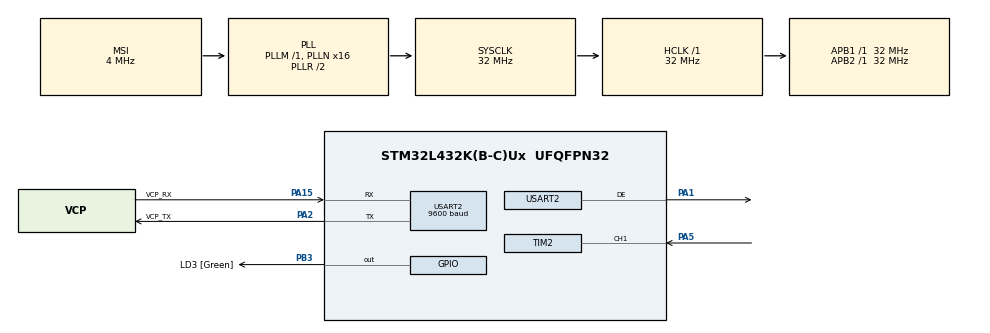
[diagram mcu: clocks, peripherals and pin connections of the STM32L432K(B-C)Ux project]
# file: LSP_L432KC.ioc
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ADC1.Channel-0\#ChannelRegularConversion=ADC_CHANNEL_TEMPSENSOR
ADC1.ContinuousConvMode=ENABLE
ADC1.ExternalTrigConv=ADC_SOFTWARE_START
ADC1.NbrOfConversionFlag=1
ADC1.OffsetNumber-0\#ChannelRegularConversion=ADC_OFFSET_NONE
ADC1.Rank-0\#ChannelRegularConversion=1
ADC1.SamplingTime-0\#ChannelRegularConversion=ADC_SAMPLETIME_2CYCLES_5
ADC1.master=1
Dma.Request0=TIM2_CH1
Dma.TIM2_CH1.0.Direction=DMA_PERIPH_TO_MEMORY
Dma.TIM2_CH1.0.Instance=DMA1_Channel5
Dma.TIM2_CH1.0.MemDataAlignment=DMA_MDATAALIGN_WORD
Dma.TIM2_CH1.0.MemInc=DMA_MINC_ENABLE
Dma.TIM2_CH1.0.Mode=DMA_NORMAL
Dma.TIM2_CH1.0.PeriphDataAlignment=DMA_PDATAALIGN_WORD
Dma.TIM2_CH1.0.PeriphInc=DMA_PINC_DISABLE
Dma.TIM2_CH1.0.Priority=DMA_PRIORITY_HIGH
Mcu.Family=STM32L4
Mcu.Name=STM32L432K(B-C)Ux
Mcu.Package=UFQFPN32
NVIC.DMA1_Channel5_IRQn=true\:0\:0\:true\:false\:true\:false\:true\:true
NVIC.PriorityGroup=NVIC_PRIORITYGROUP_4
NVIC.RTC_Alarm_IRQn=true\:0\:0\:false\:false\:true\:true\:true\:true
NVIC.RTC_WKUP_IRQn=true\:0\:0\:false\:false\:true\:true\:true\:true
NVIC.TIM2_IRQn=true\:0\:0\:false\:false\:true\:true\:true\:true
NVIC.USART2_IRQn=true\:0\:0\:false\:false\:true\:true\:true\:true
PA0.GPIO_Label=MCO [High speed clock in]
PA0.Mode=HSE-External-Clock-Source-for-LittleOrca
PA0.Signal=RCC_CK_IN
PA1.Mode=Hardware Flow Control (RS485)
PA1.Signal=USART2_DE
PA13\ (JTMS-SWDIO).GPIO_Label=SWDIO
PA13\ (JTMS-SWDIO).Mode=Serial_Wire
PA13\ (JTMS-SWDIO).Signal=SYS_JTMS-SWDIO
PA14\ (JTCK-SWCLK).GPIO_Label=SWCLK
PA14\ (JTCK-SWCLK).Mode=Serial_Wire
PA14\ (JTCK-SWCLK).Signal=SYS_JTCK-SWCLK
PA15\ (JTDI).GPIO_Label=VCP_RX
PA15\ (JTDI).Mode=Asynchronous
PA15\ (JTDI).Signal=USART2_RX
PA2.GPIO_Label=VCP_TX
PA2.Mode=Asynchronous
PA2.Signal=USART2_TX
PA5.Signal=S_TIM2_CH1
PB3\ (JTDO-TRACESWO).GPIO_Label=LD3 [Green]
PB3\ (JTDO-TRACESWO).Signal=GPIO_Output
PC14-OSC32_IN\ (PC14).Mode=LSE-External-Oscillator
PC14-OSC32_IN\ (PC14).Signal=RCC_OSC32_IN
PC15-OSC32_OUT\ (PC15).Mode=LSE-External-Oscillator
PC15-OSC32_OUT\ (PC15).Signal=RCC_OSC32_OUT
ProjectManager.HeapSize=0x200
ProjectManager.StackSize=0x400
ProjectManager.TargetToolchain=STM32CubeIDE
RCC.ADCFreq_Value=32000000
RCC.AHBFreq_Value=32000000
RCC.APB1Freq_Value=32000000
RCC.APB1TimFreq_Value=32000000
RCC.APB2Freq_Value=32000000
RCC.APB2TimFreq_Value=32000000
RCC.CortexFreq_Value=32000000
RCC.HCLKFreq_Value=32000000
RCC.HSE_VALUE=8000000
RCC.HSI16_VALUE=16000000
RCC.HSI48_VALUE=48000000
RCC.HSI_VALUE=16000000
RCC.MSI_VALUE=4000000
RCC.PLLMUL=RCC_PLLMUL_4
RCC.PLLN=16
RCC.PLLSAI1N=16
RCC.SYSCLKFreq_VALUE=32000000
RCC.SYSCLKSource=RCC_SYSCLKSOURCE_PLLCLK
RCC.USBFreq_Value=32000000
RCC.VCOOutputFreq_Value=64000000
RTC.Alarm=RTC_ALARM_A
SH.S_TIM2_CH1.0=TIM2_CH1,Input_Capture1_from_TI1
TIM2.Channel-Input_Capture1_from_TI1=TIM_CHANNEL_1
TIM2.Prescaler=0
USART2.BaudRate=9600
USART2.VirtualMode-Asynchronous=VM_ASYNC
USART2.VirtualMode-Hardware\ Flow\ Control\ (RS485)=VM_ASYNC
VP_ADC1_TempSens_Input.Mode=IN-TempSens
VP_ADC1_Vref_Input.Mode=IN-Vrefint
VP_RTC_VS_RTC_Activate.Mode=RTC_Enabled
VP_RTC_VS_RTC_Alarm_A_Intern.Mode=Alarm A
VP_RTC_VS_RTC_Calendar.Mode=RTC_Calendar
VP_RTC_VS_RTC_WakeUp_intern.Mode=WakeUp
VP_TIM2_VS_ClockSourceINT.Mode=Internal
board=NUCLEO-L432KC

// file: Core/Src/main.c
/* USER CODE BEGIN Header */
/**
  ******************************************************************************
  * @file           : main.c
  * @brief          : Main program body
  ******************************************************************************
  * @attention
  *
  * Copyright (c) 2023 STMicroelectronics.
  * All rights reserved.
  *
  * This software is licensed under terms that can be found in the LICENSE file
  * in the root directory of this software component.
  * If no LICENSE file comes with this software, it is provided AS-IS.
  *
  ******************************************************************************
  */
/* USER CODE END Header */
#include "main.h"

/* USER CODE BEGIN Includes */
#include "retarget.h"
#include <string.h>
#include <stdio.h>
#include <stm32l4xx_ll_usart.h>
#include "queue.h"
#include "command.h"
#include <stdlib.h>
#include "temperature.h"
#include "battery.h"
#include "tsl237.h"
#include "flash.h"
#include "rtc.h"
/* USER CODE END Includes */

/* USER CODE BEGIN PD */
#define TIMCLOCK   32000000
#define PRESCALAR  1
/* USER CODE END PD */

ADC_HandleTypeDef hadc1;
RTC_HandleTypeDef hrtc;
TIM_HandleTypeDef htim2;
DMA_HandleTypeDef hdma_tim2_ch1;
UART_HandleTypeDef huart2;

/* USER CODE BEGIN PV */
UART_HandleTypeDef huart2;
queue_t qbuff;
uint8_t maxcommbuffsize = 50;
uint8_t combuff[50];
uint8_t ld3_state = 0;
typedef struct command {
  char * cmd_string;
  void (*cmd_function)(char * arg);
} command_t;
RTC_TimeTypeDef sysTime = {0};
RTC_DateTypeDef sysDate = {0};
RTC_AlarmTypeDef sAlarm = {0};
uint8_t toggleflag =0;

uint32_t IC_Val1 = 0;
uint32_t IC_Val2 = 0;
uint32_t Difference = 0;
int Is_First_Captured = 0;
flash_status_t fs;

/* USER CODE END PV */

void SystemClock_Config(void);
static void MX_GPIO_Init(void);
static void MX_DMA_Init(void);
static void MX_USART2_UART_Init(void);
static void MX_RTC_Init(void);
static void MX_ADC1_Init(void);
static void MX_TIM2_Init(void);
/* USER CODE BEGIN PFP */
int execute_command(uint8_t * line);
int parse_command (uint8_t *line, uint8_t **command, uint8_t **args);

void help_command(char *arguments);
void lof_command(char *arguments);
void lon_command(char *arguments);
void test_command(char *arguments);
void ds_command(char *arguments);
void ts_command(char *arguments);
void temp_command(char *arguments);
void battery_command(char *arguments);
void lightsensor_command(char *arguments);
void sample_command(char * arguments);
void ef_command(char *args);
void fetchcommand(uint8_t* combuff);
void toggleLED();
void gettime();
/* USER CODE END PFP */

/* USER CODE BEGIN 0 */

command_t commands[] = {
  {"help",help_command},
  {"lof",lof_command},
  {"lon",lon_command},
  {"test",test_command},
  {"ds",ds_command},
  {"ts",ts_command},
  {"temp",temp_command},
  {"battery",battery_command},
  {"tsl237",lightsensor_command},
  {"sample",sample_command},
  {"log",log_command},
  {"data",data_command},
  {"ef",ef_command},
  {0,0}
};
/* USER CODE END 0 */

int main(void)
{

  /* MCU Configuration--------------------------------------------------------*/

  /* Reset of all peripherals, Initializes the Flash interface and the Systick. */
  HAL_Init();

  /* Configure the system clock */
  SystemClock_Config();

  /* Initialize all configured peripherals */
  MX_GPIO_Init();
  MX_DMA_Init();
  MX_USART2_UART_Init();
  MX_RTC_Init();
  MX_ADC1_Init();
  MX_TIM2_Init();
  /* USER CODE BEGIN 2 */
  RetargetInit(&huart2);
  init_queue(&qbuff);

  HAL_ADC_DeInit(&hadc1);
  HAL_TIM_Base_DeInit(&htim2);
  HAL_TIM_IC_DeInit(&htim2);
  flash_write_init(&fs);
  flash_write_init(&fs);
  write_log_data(&fs,"Note: Cold Reset");
  /* USER CODE END 2 */

  /* Infinite loop */
  /* USER CODE BEGIN WHILE */

  while (1)
  {
	  uint8_t status = fetchcomm(combuff);
	  if(status==1){
		  printf("\r\n");
		  if(execute_command(combuff)!=0){
			  printf("NOK\r\n");
			  gettime();
			  commandprompt(&sysTime,&sysDate);
		  }else{
//			  printf("OK\r\n");
			  gettime();
			  commandprompt(&sysTime,&sysDate);
		  }
	  }else if(status==2){
		  printf("NOK\r\n");
		  gettime();
		  commandprompt(&sysTime,&sysDate);
	  }

	  if (toggleflag  == 1){
		  toggleflag=0;
		  toggleLED();
	  }

    /* USER CODE END WHILE */

  }
}

void SystemClock_Config(void)
{
  RCC_OscInitTypeDef RCC_OscInitStruct = {0};
  RCC_ClkInitTypeDef RCC_ClkInitStruct = {0};

  /** Configure the main internal regulator output voltage
  */
  if (HAL_PWREx_ControlVoltageScaling(PWR_REGULATOR_VOLTAGE_SCALE1) != HAL_OK)
  {
    Error_Handler();
  }

  /** Configure LSE Drive Capability
  */
  HAL_PWR_EnableBkUpAccess();
  __HAL_RCC_LSEDRIVE_CONFIG(RCC_LSEDRIVE_LOW);

  /** Initializes the RCC Oscillators according to the specified parameters
  * in the RCC_OscInitTypeDef structure.
  */
  RCC_OscInitStruct.OscillatorType = RCC_OSCILLATORTYPE_LSI|RCC_OSCILLATORTYPE_LSE
                              |RCC_OSCILLATORTYPE_MSI;
  RCC_OscInitStruct.LSEState = RCC_LSE_ON;
  RCC_OscInitStruct.LSIState = RCC_LSI_ON;
  RCC_OscInitStruct.MSIState = RCC_MSI_ON;
  RCC_OscInitStruct.MSICalibrationValue = 0;
  RCC_OscInitStruct.MSIClockRange = RCC_MSIRANGE_6;
  RCC_OscInitStruct.PLL.PLLState = RCC_PLL_ON;
  RCC_OscInitStruct.PLL.PLLSource = RCC_PLLSOURCE_MSI;
  RCC_OscInitStruct.PLL.PLLM = 1;
  RCC_OscInitStruct.PLL.PLLN = 16;
  RCC_OscInitStruct.PLL.PLLP = RCC_PLLP_DIV7;
  RCC_OscInitStruct.PLL.PLLQ = RCC_PLLQ_DIV2;
  RCC_OscInitStruct.PLL.PLLR = RCC_PLLR_DIV2;
  if (HAL_RCC_OscConfig(&RCC_OscInitStruct) != HAL_OK)
  {
    Error_Handler();
  }

  /** Initializes the CPU, AHB and APB buses clocks
  */
  RCC_ClkInitStruct.ClockType = RCC_CLOCKTYPE_HCLK|RCC_CLOCKTYPE_SYSCLK
                              |RCC_CLOCKTYPE_PCLK1|RCC_CLOCKTYPE_PCLK2;
  RCC_ClkInitStruct.SYSCLKSource = RCC_SYSCLKSOURCE_PLLCLK;
  RCC_ClkInitStruct.AHBCLKDivider = RCC_SYSCLK_DIV1;
  RCC_ClkInitStruct.APB1CLKDivider = RCC_HCLK_DIV1;
  RCC_ClkInitStruct.APB2CLKDivider = RCC_HCLK_DIV1;

  if (HAL_RCC_ClockConfig(&RCC_ClkInitStruct, FLASH_LATENCY_1) != HAL_OK)
  {
    Error_Handler();
  }

  /** Enable MSI Auto calibration
  */
  HAL_RCCEx_EnableMSIPLLMode();
}

static void MX_ADC1_Init(void)
{

  ADC_ChannelConfTypeDef sConfig = {0};

  /** Common config
  */
  hadc1.Instance = ADC1;
  hadc1.Init.ClockPrescaler = ADC_CLOCK_ASYNC_DIV1;
  hadc1.Init.Resolution = ADC_RESOLUTION_12B;
  hadc1.Init.DataAlign = ADC_DATAALIGN_RIGHT;
  hadc1.Init.ScanConvMode = ADC_SCAN_DISABLE;
  hadc1.Init.EOCSelection = ADC_EOC_SINGLE_CONV;
  hadc1.Init.LowPowerAutoWait = DISABLE;
  hadc1.Init.ContinuousConvMode = ENABLE;
  hadc1.Init.NbrOfConversion = 1;
  hadc1.Init.DiscontinuousConvMode = DISABLE;
  hadc1.Init.ExternalTrigConv = ADC_SOFTWARE_START;
  hadc1.Init.ExternalTrigConvEdge = ADC_EXTERNALTRIGCONVEDGE_NONE;
  hadc1.Init.DMAContinuousRequests = DISABLE;
  hadc1.Init.Overrun = ADC_OVR_DATA_PRESERVED;
  hadc1.Init.OversamplingMode = DISABLE;
  if (HAL_ADC_Init(&hadc1) != HAL_OK)
  {
    Error_Handler();
  }

  /** Configure Regular Channel
  */
  sConfig.Channel = ADC_CHANNEL_TEMPSENSOR;
  sConfig.Rank = ADC_REGULAR_RANK_1;
  sConfig.SamplingTime = ADC_SAMPLETIME_2CYCLES_5;
  sConfig.SingleDiff = ADC_SINGLE_ENDED;
  sConfig.OffsetNumber = ADC_OFFSET_NONE;
  sConfig.Offset = 0;
  if (HAL_ADC_ConfigChannel(&hadc1, &sConfig) != HAL_OK)
  {
    Error_Handler();
  }

}

static void MX_RTC_Init(void)
{

  RTC_TimeTypeDef sTime = {0};
  RTC_DateTypeDef sDate = {0};
//  RTC_AlarmTypeDef sAlarm = {0};

  /** Initialize RTC Only
  */
  hrtc.Instance = RTC;
  hrtc.Init.HourFormat = RTC_HOURFORMAT_24;
  hrtc.Init.AsynchPrediv = 127;
  hrtc.Init.SynchPrediv = 255;
  hrtc.Init.OutPut = RTC_OUTPUT_DISABLE;
  hrtc.Init.OutPutRemap = RTC_OUTPUT_REMAP_NONE;
  hrtc.Init.OutPutPolarity = RTC_OUTPUT_POLARITY_HIGH;
  hrtc.Init.OutPutType = RTC_OUTPUT_TYPE_OPENDRAIN;
  if (HAL_RTC_Init(&hrtc) != HAL_OK)
  {
    Error_Handler();
  }

  /** Initialize RTC and set the Time and Date
  */
  sTime.Hours = 0x0;
  sTime.Minutes = 0x0;
  sTime.Seconds = 0x0;
  sTime.DayLightSaving = RTC_DAYLIGHTSAVING_NONE;
  sTime.StoreOperation = RTC_STOREOPERATION_RESET;
  if (HAL_RTC_SetTime(&hrtc, &sTime, RTC_FORMAT_BCD) != HAL_OK)
  {
    Error_Handler();
  }
  sDate.WeekDay = RTC_WEEKDAY_MONDAY;
  sDate.Month = RTC_MONTH_JANUARY;
  sDate.Date = 0x1;
  sDate.Year = 0x0;

  if (HAL_RTC_SetDate(&hrtc, &sDate, RTC_FORMAT_BCD) != HAL_OK)
  {
    Error_Handler();
  }

  /** Enable the Alarm A
  */
  	sAlarm.AlarmTime.Hours = 0;
	sAlarm.AlarmTime.Minutes = 0;
	sAlarm.AlarmTime.Seconds = 30;
	sAlarm.AlarmTime.SubSeconds = 0;
	sAlarm.AlarmTime.DayLightSaving = RTC_DAYLIGHTSAVING_NONE;
	sAlarm.AlarmTime.StoreOperation = RTC_STOREOPERATION_RESET;
	sAlarm.AlarmMask = RTC_ALARMMASK_DATEWEEKDAY|RTC_ALARMMASK_HOURS
								|RTC_ALARMMASK_MINUTES;
	sAlarm.AlarmSubSecondMask = RTC_ALARMSUBSECONDMASK_ALL;
	sAlarm.AlarmDateWeekDaySel = RTC_ALARMDATEWEEKDAYSEL_DATE;
	sAlarm.AlarmDateWeekDay = 1;
	sAlarm.Alarm = RTC_ALARM_A;
  if (HAL_RTC_SetAlarm_IT(&hrtc, &sAlarm, RTC_FORMAT_BCD) != HAL_OK)
  {
    Error_Handler();
  }

}

static void MX_TIM2_Init(void)
{

  TIM_ClockConfigTypeDef sClockSourceConfig = {0};
  TIM_MasterConfigTypeDef sMasterConfig = {0};
  TIM_IC_InitTypeDef sConfigIC = {0};

  htim2.Instance = TIM2;
  htim2.Init.Prescaler = 0;
  htim2.Init.CounterMode = TIM_COUNTERMODE_UP;
  htim2.Init.Period = 4294967295;
  htim2.Init.ClockDivision = TIM_CLOCKDIVISION_DIV1;
  htim2.Init.AutoReloadPreload = TIM_AUTORELOAD_PRELOAD_DISABLE;
  if (HAL_TIM_Base_Init(&htim2) != HAL_OK)
  {
    Error_Handler();
  }
  sClockSourceConfig.ClockSource = TIM_CLOCKSOURCE_INTERNAL;
  if (HAL_TIM_ConfigClockSource(&htim2, &sClockSourceConfig) != HAL_OK)
  {
    Error_Handler();
  }
  if (HAL_TIM_IC_Init(&htim2) != HAL_OK)
  {
    Error_Handler();
  }
  sMasterConfig.MasterOutputTrigger = TIM_TRGO_RESET;
  sMasterConfig.MasterSlaveMode = TIM_MASTERSLAVEMODE_DISABLE;
  if (HAL_TIMEx_MasterConfigSynchronization(&htim2, &sMasterConfig) != HAL_OK)
  {
    Error_Handler();
  }
  sConfigIC.ICPolarity = TIM_INPUTCHANNELPOLARITY_RISING;
  sConfigIC.ICSelection = TIM_ICSELECTION_DIRECTTI;
  sConfigIC.ICPrescaler = TIM_ICPSC_DIV1;
  sConfigIC.ICFilter = 0;
  if (HAL_TIM_IC_ConfigChannel(&htim2, &sConfigIC, TIM_CHANNEL_1) != HAL_OK)
  {
    Error_Handler();
  }

}

static void MX_USART2_UART_Init(void)
{

  huart2.Instance = USART2;
  huart2.Init.BaudRate = 9600;
  huart2.Init.WordLength = UART_WORDLENGTH_8B;
  huart2.Init.StopBits = UART_STOPBITS_1;
  huart2.Init.Parity = UART_PARITY_NONE;
  huart2.Init.Mode = UART_MODE_TX_RX;
  huart2.Init.HwFlowCtl = UART_HWCONTROL_NONE;
  huart2.Init.OverSampling = UART_OVERSAMPLING_16;
  huart2.Init.OneBitSampling = UART_ONE_BIT_SAMPLE_DISABLE;
  huart2.AdvancedInit.AdvFeatureInit = UART_ADVFEATURE_NO_INIT;
  if (HAL_RS485Ex_Init(&huart2, UART_DE_POLARITY_HIGH, 0, 0) != HAL_OK)
  {
    Error_Handler();
  }
  /* USER CODE BEGIN USART2_Init 2 */
  LL_USART_EnableIT_RXNE(USART2);
  /* USER CODE END USART2_Init 2 */

}

static void MX_DMA_Init(void)
{

  /* DMA controller clock enable */
  __HAL_RCC_DMA1_CLK_ENABLE();

  /* DMA interrupt init */
  /* DMA1_Channel5_IRQn interrupt configuration */
  HAL_NVIC_SetPriority(DMA1_Channel5_IRQn, 0, 0);
  HAL_NVIC_EnableIRQ(DMA1_Channel5_IRQn);

}

static void MX_GPIO_Init(void)
{
  GPIO_InitTypeDef GPIO_InitStruct = {0};

  /* GPIO Ports Clock Enable */
  __HAL_RCC_GPIOC_CLK_ENABLE();
  __HAL_RCC_GPIOA_CLK_ENABLE();
  __HAL_RCC_GPIOB_CLK_ENABLE();

  /*Configure GPIO pin Output Level */
  HAL_GPIO_WritePin(LD3_GPIO_Port, LD3_Pin, GPIO_PIN_RESET);

  /*Configure GPIO pin : LD3_Pin */
  GPIO_InitStruct.Pin = LD3_Pin;
  GPIO_InitStruct.Mode = GPIO_MODE_OUTPUT_PP;
  GPIO_InitStruct.Pull = GPIO_NOPULL;
  GPIO_InitStruct.Speed = GPIO_SPEED_FREQ_LOW;
  HAL_GPIO_Init(LD3_GPIO_Port, &GPIO_InitStruct);

}

/* USER CODE BEGIN 4 */
	int execute_command(uint8_t * line) {
	  uint8_t *cmd;
	  uint8_t *arg;
	  command_t *p = commands;
	  int success = 0;

	  char comarr[10];
	  char argarr[20];

	  cmd = (uint8_t *)comarr;
	  arg = (uint8_t *)argarr;

	  if (!line) {
		return (-1); // Passed a bad pointer
	  }
	  if (parse_command(line,&cmd,&arg) == -1) {
		printf("Error with parse command");
		return (-1);
	  }
	  while (p->cmd_string) {
		if (!strcmp(p->cmd_string,(char *) cmd)) {
		  if (!p->cmd_function) {
			return (-1);
		  }
		  (*p->cmd_function)((char *)arg);            // Run the command with the passed arguments
		  success = 1;
		  break;
		}
		p++;
	  }
	  if (success) {
		return (0);
	  }
	  else {
		return (-1);
	  }
	}

	int parse_command (uint8_t *line, uint8_t **command, uint8_t **args){

        uint8_t i=0,ln=(uint8_t)strlen((char*)line);

        while(i<ln){
            if(line[i]==','){
                break;
            }
            i++;
        }

        char cmd[i+1];
        cmd[i]='\0';
        strncpy(cmd,(char*)line,i);
        strcpy((char*)*command,cmd);

        if(ln==i){
        	char argts[1];
        	argts[0]='\0';
        	strcpy((char*)*args,argts);
        }else{
        	char argts[ln-i];
        	argts[ln-i-1]='\0';
        	strncpy(argts,(char*)&line[i+1],ln-i);
        	strcpy((char*)*args,argts);
        }

    	return 1;

	}

	void test_command(char *arguments) {
		uint8_t i=0,pt=0,ln=(uint8_t)strlen((char*)arguments);
		char arg[50];
		while(i<ln){
			if(arguments[i]==','){
				if(i==ln-1){
					return;
				}
			 arg[pt]='\0';
			 printf("%s\r\n",arg);
			 pt=0;
			 i++;
			 continue;
		  }
		   arg[pt]=arguments[i];
		   pt++;
		   i++;
		}
	     printf("%s\r\n",arg);
	     printf("OK\r\n");
	  }

	void help_command(char* arguments) {
		  command_t* p = commands;
		  printf("Available Commands: \r\n");
	//	  HAL_UART_Transmit(&huart2, (uint8_t*)avail, strlen(avail), HAL_MAX_DELAY);
		  while (p->cmd_string) {
		    printf("%s\r\n",p->cmd_string);
		    p++;
		  }
		  printf("OK\r\n");
		}

	void lof_command(char* arguments)
	{
	  if (ld3_state == 1)
	  {
	    HAL_GPIO_TogglePin(LD3_GPIO_Port, LD3_Pin);
	    ld3_state = 0;

	  }
	  printf("OK\r\n");
//	  HAL_UART_Transmit(&huart2, (uint8_t*)END_LINE, strlen(END_LINE), HAL_MAX_DELAY);
	}

	void lon_command(char* arguments)
	{
	  if (ld3_state == 0)
	  {
	    HAL_GPIO_TogglePin(LD3_GPIO_Port, LD3_Pin);
	    ld3_state = 1;
	  }
	  printf("OK\r\n");
//	  HAL_UART_Transmit(&huart2, (uint8_t*)END_LINE, strlen(END_LINE), HAL_MAX_DELAY);
	}

	void gettime(){
		if(HAL_RTC_GetTime(&hrtc, &sysTime,RTC_FORMAT_BIN)==HAL_OK && HAL_RTC_GetDate(&hrtc,&sysDate,RTC_FORMAT_BIN==HAL_OK)){
			return;
		}
	}

	void ds_command(char *arguments){
		uint8_t i=0,pt=2,ln=(uint8_t)strlen((char*)arguments);
		char buff[15];
		buff[0]='0';
		buff[1]='x';
		uint8_t ctr=1, params[3]={-1,-1,-1};
		while(i<ln){
			if(arguments[i]==','){
				if(i==ln-1){
					printf("NOK\r\n");
					return;
				}
				buff[pt]='\0';
				if(ctr==1){
					params[ctr-1]=(uint8_t)strtol(buff,NULL,0);
				}else{
					params[ctr-1]=(uint8_t)atoi(buff);
				}

//				printf("%s %d\r\n",buff,params[ctr-1]);
//				buff[0]='0';
//				buff[1]='x';
				pt=0;
				i++;
				ctr++;
				continue;
			}

			buff[pt]=arguments[i];
		    pt++;
		    i++;
		}

		if(ctr<3){
			printf("NOK\r\n");
			return;
		}

		buff[pt]='\0';
		params[ctr-1]=(uint8_t)atoi(buff);
//		printf("%s %d\r\n",buff,params[ctr-1]);
		if((params[0]>0x12 || params[0]<0x1) || (params[1]>31 || params[1]<1) || (params[2]>99 || params[2]<0)){
			printf("NOK\r\n");
			return;
		}

		sysDate.Month=params[0];
		sysDate.Year=params[2];
//		sysDate.Year=0x23;
		sysDate.Date=params[1];

	   if (HAL_RTC_SetDate(&hrtc, &sysDate, RTC_FORMAT_BCD) != HAL_OK)
	   {
		   printf("NOK\r\n");
		   return;
	   }

	   printf("OK\r\n");
	}

	void ts_command(char *arguments){
		uint8_t i=0,pt=0,ln=(uint8_t)strlen((char*)arguments);
		char buff[15];
//		buff[0]='0';
//		buff[1]='x';
		uint8_t ctr=1, params[3]={-1,-1,-1};
		while(i<ln){
			if(arguments[i]==','){
				if(i==ln-1){
					printf("NOK\r\n");
					return;
				}
				buff[pt]='\0';
				params[ctr-1]=(uint8_t)atoi(buff);
//				printf("%s %d\r\n",buff,params[ctr-1]);
//				buff[0]='0';
//				buff[1]='x';
				pt=0;
				i++;
				ctr++;
				continue;
			}

			buff[pt]=arguments[i];
		    pt++;
		    i++;
		}

		if(ctr<3){
			printf("NOK\r\n");
			return;
		}

		buff[pt]='\0';

		params[ctr-1]=(uint8_t)atoi(buff);
//		printf("%s %d\r\n",buff,params[ctr-1]);
		if((params[0]>23 || params[0]<0) || (params[1]>59 || params[1]<0) || (params[2]>59 || params[2]<0)){
			printf("NOK\r\n");
			return;
		}

		sysTime.Hours=params[0];
		sysTime.Seconds=params[2];
		sysTime.Minutes=params[1];
//		sysDate.Year=0x23;

	   if (HAL_RTC_SetTime(&hrtc, &sysTime, RTC_FORMAT_BIN) != HAL_OK)
	   {
		   printf("NOK\r\n");
		   return;
	   }

	   printf("OK\r\n");
	}

	void temp_command(char *arguments) {
		if(arguments && strcmp(arguments,"")!=0){
			printf("NOK\n\r");
			return;
		}
	    HAL_ADC_Init(&hadc1);
	    while (HAL_ADCEx_Calibration_Start(&hadc1,ADC_SINGLE_ENDED) != HAL_OK);
	    printf("%d C\n\r",(int)read_temp());
	    HAL_ADC_DeInit(&hadc1);
	    printf("OK\n\r");

	}

	void battery_command(char *arguments) {
		if(arguments && strcmp(arguments,"")!=0){
			printf("NOK\n\r");
			return;
		}
	    HAL_ADC_Init(&hadc1);
	    while (HAL_ADCEx_Calibration_Start(&hadc1,ADC_SINGLE_ENDED) != HAL_OK);
	    printf("%.2f V\n\r",((float) read_vrefint())/1000);
	    HAL_ADC_DeInit(&hadc1);
	    printf("OK\n\r");

	}
	void lightsensor_command(char *arguments){
		if(arguments && strcmp(arguments,"")!=0){
			printf("NOK\n\r");
			return;
		}
		HAL_TIM_Base_Init(&htim2);
		HAL_TIM_IC_Init(&htim2);
		HAL_Delay(3);
		uint32_t raw;
		float frequency = 0,refClock = TIMCLOCK/(PRESCALAR);

		raw = tsl237_readsensor();

		HAL_TIM_Base_DeInit(&htim2);
		HAL_TIM_IC_DeInit(&htim2);

		frequency = refClock/raw;
		printf("%.2f Hz\n\r",frequency);
		printf("OK\n\r");
		return;
	}

void sample_command(char * arguments) {
  // if (arguments) {
  //   printf("NOK\n\r");
  //   return;
  // }

  HAL_ADC_Init(&hadc1);
  while (HAL_ADCEx_Calibration_Start(&hadc1,ADC_SINGLE_ENDED) != HAL_OK);
  uint16_t temp = (uint16_t)read_temp();
  uint16_t v = (uint16_t)read_vrefint();
  HAL_ADC_DeInit(&hadc1);

  HAL_TIM_Base_Init(&htim2);
  HAL_TIM_IC_Init(&htim2);
  HAL_Delay(3);
  uint32_t raw;
  float frequency = 0,refClock = TIMCLOCK/(PRESCALAR);
  raw = tsl237_readsensor();
  HAL_TIM_Base_DeInit(&htim2);
  HAL_TIM_IC_DeInit(&htim2);
  frequency = refClock/raw;
  int freq_int = (int)frequency;
  write_sensor_data(&fs,v,temp,freq_int);
  printf("OK\n\r");
}

void ef_command(char *args) {
  if (!args) {
    printf("NOK\n\r");
    return;
  }
  else {
    if (!strcmp("all",args)) {
      flash_reset(&fs);
//      printf("Erase Here!\n\r");
    }
    else {
      printf("NOK\n\r");
      return;
    }
  }
  printf("OK\n\r");
}

	void HAL_TIM_IC_CaptureCallback(TIM_HandleTypeDef *htim)
	{
		if (htim->Channel == HAL_TIM_ACTIVE_CHANNEL_1)  // if the interrupt source is channel1
		{
			tsl237_done = 1;
		}
	}

	void toggleLED(){
		lon_command(NULL);
//		HAL_GPIO_TogglePin(LD3_GPIO_Port, LD3_Pin);
		HAL_Delay(100);
		lof_command(NULL);

	}

	void HAL_RTC_AlarmAEventCallback(RTC_HandleTypeDef *hrtc)
	{
		toggleflag=1;

		if (HAL_RTC_SetAlarm_IT(hrtc, &sAlarm, RTC_FORMAT_BIN) != HAL_OK)
	  {
	    Error_Handler();
	  }
	}

/* USER CODE END 4 */

void Error_Handler(void)
{
  __disable_irq();
  while (1)
  {
  }
}
